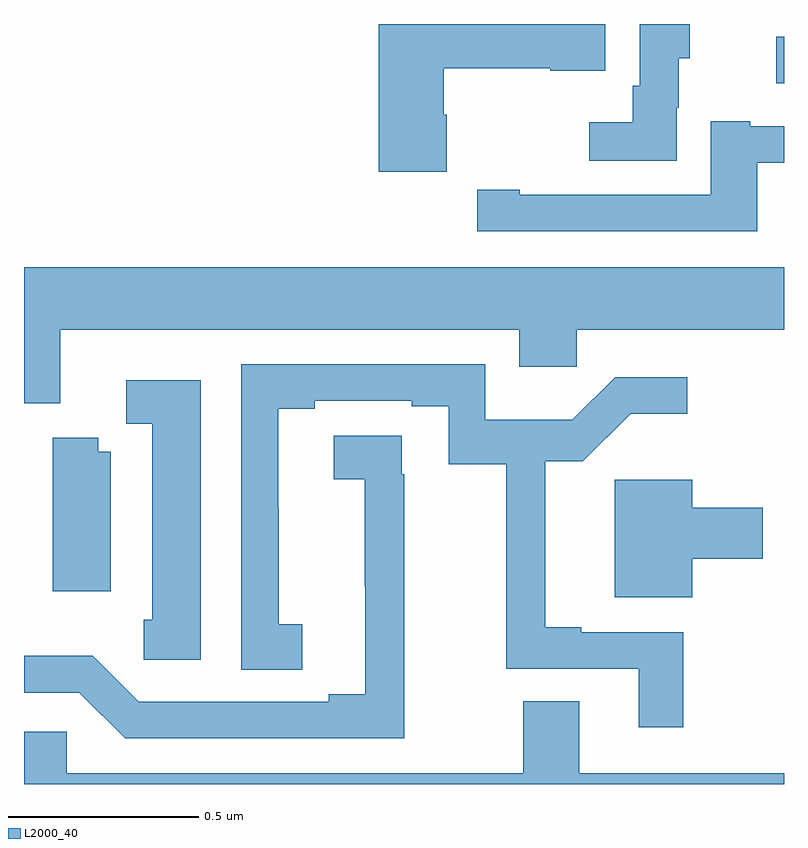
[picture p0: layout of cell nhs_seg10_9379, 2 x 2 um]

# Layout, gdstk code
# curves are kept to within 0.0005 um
import gdstk
lib = gdstk.Library(unit=1e-6, precision=1e-09)
def R(c, l, rs):  # rectangles x0, y0, x1, y1
    for r in rs: c.add(gdstk.rectangle(r[:2], r[2:], *l))
def P(c, l, *ps):  # polygons
    for p in ps: c.add(gdstk.Polygon(p, *l))
L2000_40 = (2000, 40)

nhs_seg10_9379 = lib.new_cell('nhs_seg10_9379')
R(nhs_seg10_9379, L2000_40, [(230.979,1254.344,231,1254.466)])
P(nhs_seg10_9379, L2000_40, [(230.112,1254.261),(230.104,1254.261),(230.104,1254.384),(230.385,1254.384),(230.385,1254.377),(230.53,1254.377),(230.53,1254.5),(229.934,1254.5),(229.934,1254.111),(230.112,1254.111)],
  [(230.718,1254.279),(230.723,1254.279),(230.723,1254.41),(230.752,1254.41),(230.752,1254.5),(230.621,1254.5),(230.621,1254.337),(230.602,1254.337),(230.602,1254.241),(230.487,1254.241),(230.487,1254.14),(230.718,1254.14)],
  [(230.929,1254.135),(231,1254.135),(231,1254.231),(230.911,1254.231),(230.911,1254.244),(230.807,1254.244),(230.807,1254.051),(230.305,1254.051),(230.305,1254.064),(230.193,1254.064),(230.193,1253.955),(230.929,1253.955)],
  [(229.096,1253.696),(230.303,1253.696),(230.303,1253.598),(230.455,1253.598),(230.455,1253.696),(231,1253.696),(231,1253.86),(229,1253.86),(229,1253.502),(229.096,1253.502)],
  [(230.735,1252.899),(230.467,1252.899),(230.467,1252.912),(230.372,1252.912),(230.372,1253.349),(230.471,1253.349),(230.597,1253.474),(230.746,1253.474),(230.746,1253.571),(230.556,1253.571),(230.443,1253.458),(230.214,1253.458),(230.214,1253.604),(229.572,1253.604),(229.572,1252.801),(229.732,1252.801),(229.732,1252.921),(229.671,1252.921),(229.671,1253.225),(229.669,1253.225),(229.669,1253.488),(229.765,1253.488),(229.765,1253.508),(230.021,1253.508),(230.021,1253.494),(230.118,1253.494),(230.118,1253.341),(230.269,1253.341),(230.269,1252.803),(230.618,1252.803),(230.618,1252.65),(230.735,1252.65)],
  [(229.465,1253.563),(229.269,1253.563),(229.269,1253.448),(229.337,1253.448),(229.337,1252.932),(229.315,1252.932),(229.315,1252.827),(229.465,1252.827)],
  [(230,1253.315),(229.994,1253.315),(229.994,1253.417),(229.815,1253.417),(229.815,1253.302),(229.897,1253.302),(229.898,1252.736),(229.802,1252.736),(229.802,1252.716),(229.302,1252.716),(229.181,1252.837),(229,1252.837),(229,1252.74),(229.146,1252.74),(229.266,1252.62),(230,1252.62)],
  [(229.228,1253.374),(229.196,1253.374),(229.196,1253.411),(229.076,1253.411),(229.076,1253.007),(229.228,1253.007)],
  [(230.758,1253.093),(230.944,1253.093),(230.944,1253.227),(230.758,1253.227),(230.758,1253.301),(230.555,1253.301),(230.555,1252.991),(230.758,1252.991)],
  [(229,1252.638),(229,1252.5),(231,1252.5),(231,1252.528),(230.461,1252.528),(230.461,1252.718),(230.314,1252.718),(230.314,1252.528),(229.113,1252.528),(229.113,1252.638)])

lib.write_gds('nhs_seg10_9379.gds')
